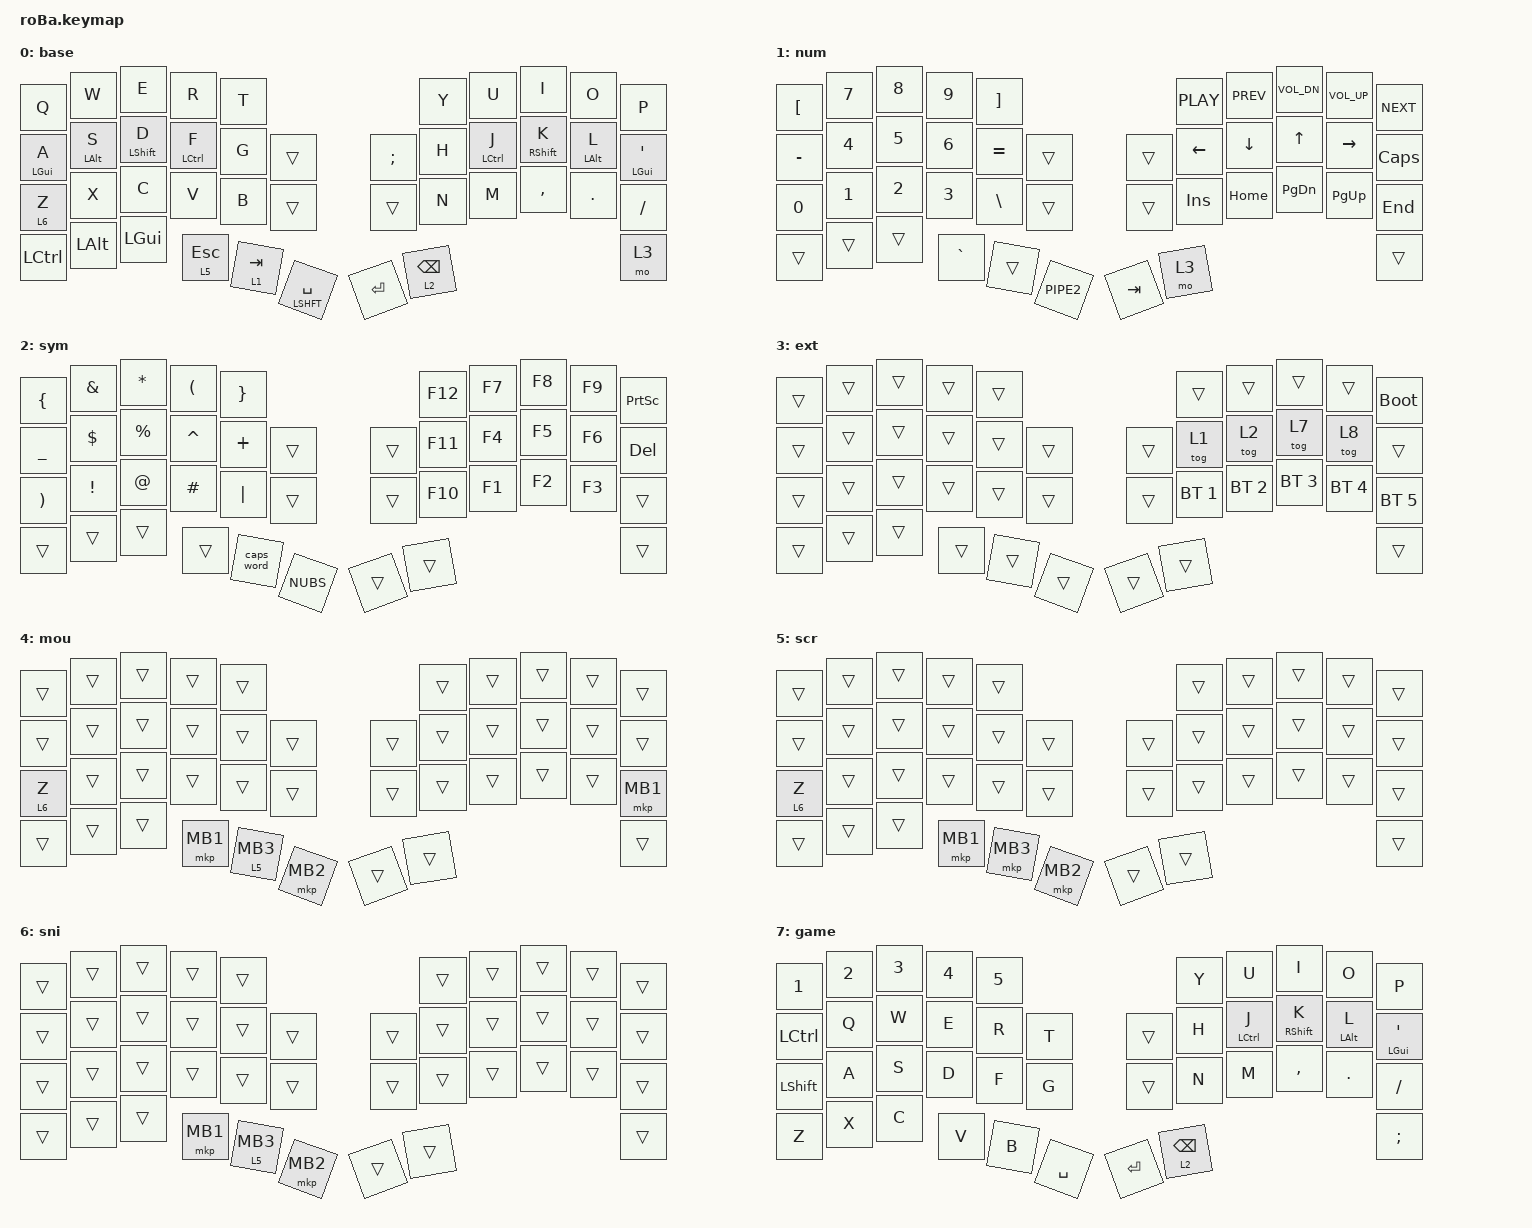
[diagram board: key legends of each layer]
#include <behaviors.dtsi>
#include <dt-bindings/zmk/keys.h>
#include <dt-bindings/zmk/bt.h>
#include <dt-bindings/zmk/outputs.h>
#include <dt-bindings/zmk/pointing.h>
#include "zmk-helpers/helper.h"
#include "include/roBa.h"
#include "include/combos.dtsi"
#include "include/hold-tap.dtsi"
#include "include/settings.dtsi"

ZMK_LAYER(base,
		&kp Q          &kp W       &kp E         &kp R          &kp T                                  &kp Y       &kp U            &kp I         &kp O       &kp P         
		&hml LGUI A    &hml LALT S &hml LSHFT D  &hml LCTRL F   &kp G &trans                    &kp SEMI &kp H       &hmr LCTRL J     &hmr RSHFT K  &hmr LALT L &hmr LGUI APOS
    &lt_sni 6 Z    &kp X       &kp C         &kp V          &kp B &trans                    &trans &kp N       &kp M            &kp COMMA     &kp DOT     &kp FSLH
    &kp LCTRL  		 &kp LALT    &kp LGUI      &lt_scr 5 ESC &lt_tab 1 TAB  &lt_shift LSHFT SPACE &kp RET        &lt_back 2 BSPC                            &mo 3
)

ZMK_LAYER(num,  
    &kp LBKT       &kp N7      &kp N8        &kp N9         &kp RBKT                               &kp C_PLAY  &kp C_PREV       &kp C_VOL_DN  &kp C_VOL_UP &kp C_NEXT
    &kp MINUS      &kp N4      &kp N5        &kp N6         &kp EQUAL &trans                &trans &kp LEFT    &kp DOWN         &kp UP        &kp RIGHT   &kp CAPSLOCK
    &kp N0         &kp N1      &kp N2        &kp N3         &kp BSLH  &trans                &trans &kp INS     &kp HOME         &kp PG_DN     &kp PG_UP   &kp END
    &trans         &trans      &trans        &kp GRAVE      &trans    &kp PIPE2             &kp TAB &mo 3                                                 &trans
)

ZMK_LAYER(sym,  
    &kp LBRC       &kp AMPS    &kp ASTRK     &kp LPAR       &kp RBRC                               &kp F12     &kp F7           &kp F8        &kp F9      &kp PSCRN
    &kp UNDERSCORE &kp DLLR    &kp PRCNT     &kp CARET      &kp PLUS  &trans                &trans &kp F11     &kp F4           &kp F5        &kp F6      &kp DEL  
    &kp RPAR       &kp EXCL    &kp AT        &kp HASH       &kp PIPE  &trans                &trans &kp F10     &kp F1           &kp F2        &kp F3      &trans
    &trans         &trans      &trans        &trans         &caps_word &kp NUBS             &trans &trans                                                 &trans
)

ZMK_LAYER(ext,
    &trans         &trans      &trans        &trans         &trans                                 &trans      &trans           &trans        &trans        &bootloader
    &trans         &trans      &trans        &trans         &trans  &trans                  &trans &tog 1      &tog 2           &tog 7        &tog 8        &trans
    &trans         &trans      &trans        &trans         &trans  &trans                  &trans &bt BT_SEL 1 &bt BT_SEL 2    &bt BT_SEL 3  &bt BT_SEL 4  &bt BT_SEL 5
    &trans         &trans      &trans        &trans         &trans  &trans                  &trans &trans                                                   &trans
)

ZMK_LAYER(mou,
    &trans         &trans      &trans        &trans         &trans                                 &trans      &trans           &trans        &trans        &trans
    &trans         &trans      &trans        &trans         &trans  &trans                  &trans &trans      &trans           &trans        &trans        &trans
    &lt_sni 6 Z    &trans      &trans        &trans         &trans  &trans                  &trans &trans      &trans           &trans        &trans        &mkp MB1
    &trans         &trans      &trans        &mkp MB1       &lt_mb3 5 MB3  &mkp MB2         &trans &trans                                                   &trans
)

ZMK_LAYER(scr,
    &trans         &trans      &trans        &trans         &trans                                 &trans      &trans           &trans        &trans        &trans
    &trans         &trans      &trans        &trans         &trans  &trans                  &trans &trans      &trans           &trans        &trans        &trans
    &lt_sni 6 Z    &trans      &trans        &trans         &trans  &trans                  &trans &trans      &trans           &trans        &trans        &trans
    &trans         &trans      &trans        &mkp MB1       &mkp MB3 &mkp MB2               &trans &trans                                                   &trans
)

ZMK_LAYER(sni,
    &trans         &trans      &trans        &trans         &trans                                 &trans      &trans           &trans        &trans        &trans
    &trans         &trans      &trans        &trans         &trans  &trans                  &trans &trans      &trans           &trans        &trans        &trans
    &trans         &trans      &trans        &trans         &trans  &trans                  &trans &trans      &trans           &trans        &trans        &trans
    &trans         &trans      &trans        &mkp MB1       &lt_mb3 5 MB3   &mkp MB2        &trans &trans                                                   &trans
)

ZMK_LAYER(game,
		&kp 1          &kp 2       &kp 3         &kp 4          &kp 5                                  &kp Y       &kp U            &kp I         &kp O       &kp P         
		&kp LCTRL      &kp Q       &kp W         &kp E          &kp R &kp T                     &trans &kp H       &hmr LCTRL J     &hmr RSHFT K  &hmr LALT L &hmr LGUI APOS
    &kp LSHFT      &kp A       &kp S         &kp D          &kp F &kp G                            &trans &kp N &kp M           &kp COMMA     &kp DOT     &kp FSLH
    &kp Z          &kp X       &kp C         &kp V          &kp B &kp SPACE                        &kp RET        &lt_back 2 BSPC                            &kp SEMI
  )
